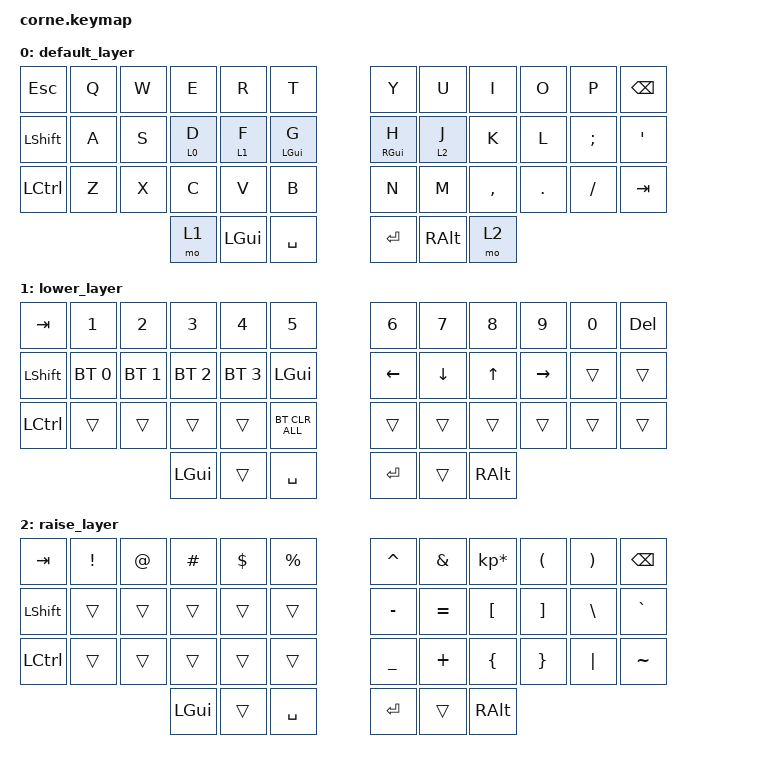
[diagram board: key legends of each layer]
/*
 * Copyright (c) 2020 The ZMK Contributors
 *
 * SPDX-License-Identifier: MIT
 */

#include <behaviors.dtsi>
#include <dt-bindings/zmk/bt.h>
#include <dt-bindings/zmk/keys.h>

/ {
    macros {
        closeWindow: closeWindow {
            compatible = "zmk,behavior-macro";
            #binding-cells = <0>;
            bindings = <>;
            label = "CLOSEWINDOW";
        };
    };

    keymap {
        compatible = "zmk,keymap";

        default_layer {
            // -----------------------------------------------------------------------------------------
            // |  TAB |  Q  |  W  |  E  |  R  |  T  |   |  Y  |  U   |  I  |  O  |  P  | BKSP |
            // | CTRL |  A  |  S  |  D  |  F  |  G  |   |  H  |  J   |  K  |  L  |  ;  |  '   |
            // | SHFT |  Z  |  X  |  C  |  V  |  B  |   |  N  |  M   |  ,  |  .  |  /  | ESC  |
            //                    | GUI | LWR | SPC |   | ENT | RSE  | ALT |

            bindings = <
&kp ESCAPE        &kp Q  &kp W  &kp E    &kp R     &kp T         &kp Y       &kp U     &kp I      &kp O    &kp P     &kp BSPC
&kp LEFT_SHIFT    &kp A  &kp S  &lt 0 D  &lt 1 F   &mt LGUI G    &mt RGUI H  &lt 2 J   &kp K      &kp L    &kp SEMI  &kp SQT
&kp LEFT_CONTROL  &kp Z  &kp X  &kp C    &kp V     &kp B         &kp N       &kp M     &kp COMMA  &kp DOT  &kp FSLH  &kp TAB
                                &mo 1    &kp LGUI  &kp SPACE     &kp RET     &kp RALT  &mo 2
            >;
        };

        lower_layer {
            // -----------------------------------------------------------------------------------------
            // |  TAB |  1  |  2  |  3  |  4  |  5  |   |  6  |  7  |  8  |  9  |  0  | BKSP |
            // | BTCLR| BT1 | BT2 | BT3 | BT4 | BT5 |   | LFT | DWN |  UP | RGT |     |      |
            // | SHFT |     |     |     |     |     |   |     |     |     |     |     |      |
            //                    | GUI |     | SPC |   | ENT |     | ALT |

            bindings = <
&kp TAB         &kp N1        &kp N2        &kp N3        &kp N4        &kp N5            &kp N6    &kp N7    &kp N8    &kp N9     &kp N0  &kp DELETE
&kp LEFT_SHIFT  &bt BT_SEL 0  &bt BT_SEL 1  &bt BT_SEL 2  &bt BT_SEL 3  &kp LEFT_GUI      &kp LEFT  &kp DOWN  &kp UP    &kp RIGHT  &trans  &trans
&kp LCTRL       &trans        &trans        &trans        &trans        &bt BT_CLR_ALL    &trans    &trans    &trans    &trans     &trans  &trans
                                            &kp LGUI      &trans        &kp SPACE         &kp RET   &trans    &kp RALT
            >;
        };

        raise_layer {
            // -----------------------------------------------------------------------------------------
            // |  TAB |  !  |  @  |  #  |  $  |  %  |   |  ^  |  &  |  *  |  (  |  )  | BKSP |
            // | CTRL |     |     |     |     |     |   |  -  |  =  |  [  |  ]  |  \  |  `   |
            // | SHFT |     |     |     |     |     |   |  _  |  +  |  {  |  }  | "|" |  ~   |
            //                    | GUI |     | SPC |   | ENT |     | ALT |

            bindings = <
&kp TAB           &kp EXCL  &kp AT  &kp HASH  &kp DLLR  &kp PRCNT    &kp CARET  &kp AMPS   &kp KP_MULTIPLY  &kp LPAR  &kp RPAR  &kp BSPC
&kp LSHFT         &trans    &trans  &trans    &trans    &trans       &kp MINUS  &kp EQUAL  &kp LBKT         &kp RBKT  &kp BSLH  &kp GRAVE
&kp LEFT_CONTROL  &trans    &trans  &trans    &trans    &trans       &kp UNDER  &kp PLUS   &kp LBRC         &kp RBRC  &kp PIPE  &kp TILDE
                                    &kp LGUI  &trans    &kp SPACE    &kp RET    &trans     &kp RALT
            >;
        };
    };
};
